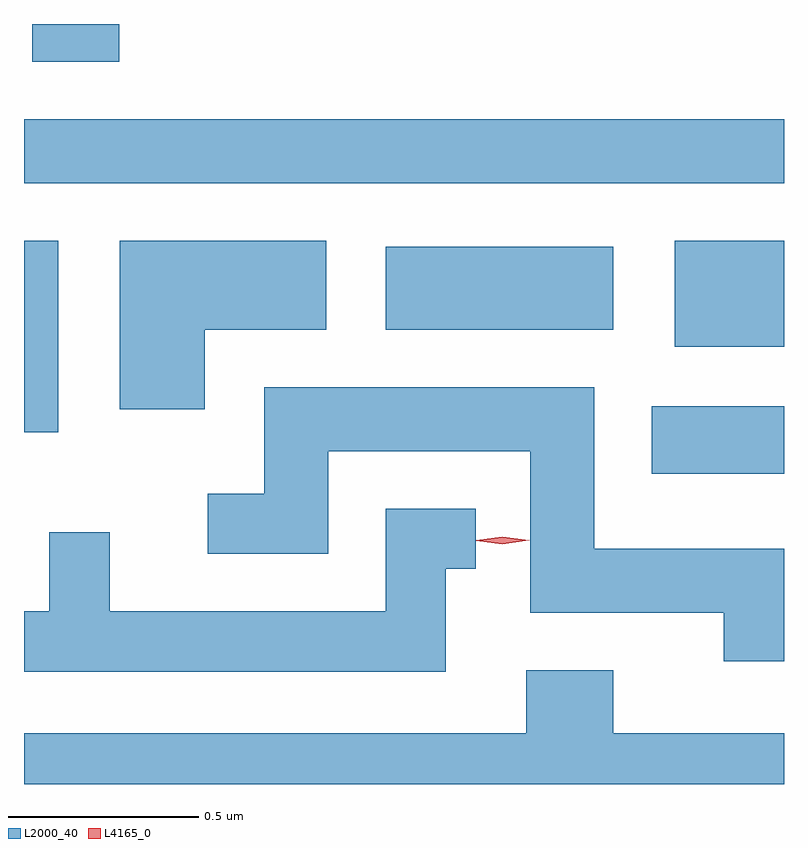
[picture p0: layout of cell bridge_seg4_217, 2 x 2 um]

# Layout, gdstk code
import gdstk
lib = gdstk.Library(unit=1e-6, precision=1e-09)
def R(c, l, rs):  # rectangles x0, y0, x1, y1
    for r in rs: c.add(gdstk.rectangle(r[:2], r[2:], *l))
def P(c, l, *ps):  # polygons
    for p in ps: c.add(gdstk.Polygon(p, *l))
L2000_40 = (2000, 40)
L4165_0 = (4165, 0)

bridge_seg4_217 = lib.new_cell('bridge_seg4_217')
R(bridge_seg4_217, L2000_40, [(971.921,1271.266,972.269,1271.444), (970.269,1271.376,970.359,1271.879), (971.981,1271.601,972.269,1271.879), (971.221,1271.646,971.819,1271.864), (970.269,1272.031,972.269,1272.199), (970.291,1272.351,970.519,1272.45)])
P(bridge_seg4_217, L2000_40, [(970.744,1271.646),(971.064,1271.646),(971.064,1271.879),(970.521,1271.879),(970.521,1271.436),(970.744,1271.436)],
  [(972.269,1271.069),(971.769,1271.069),(971.769,1271.494),(970.901,1271.494),(970.901,1271.214),(970.753,1271.214),(970.753,1271.056),(971.069,1271.056),(971.069,1271.326),(971.601,1271.326),(971.601,1270.901),(972.111,1270.901),(972.111,1270.773),(972.269,1270.773)],
  [(971.379,1271.016),(971.458,1271.016),(971.458,1271.174),(971.221,1271.174),(971.221,1270.904),(970.494,1270.904),(970.494,1271.113),(970.336,1271.113),(970.336,1270.904),(970.269,1270.904),(970.269,1270.746),(971.379,1270.746)],
  [(972.269,1270.584),(971.819,1270.584),(971.819,1270.749),(971.591,1270.749),(971.591,1270.584),(970.269,1270.584),(970.269,1270.45),(972.269,1270.45)])
P(bridge_seg4_217, L4165_0, [(971.528,1271.081),(971.459,1271.09),(971.459,1271.09),(971.459,1271.091),(971.528,1271.101),(971.598,1271.092),(971.598,1271.091),(971.598,1271.091)])

lib.write_gds('bridge_seg4_217.gds')
